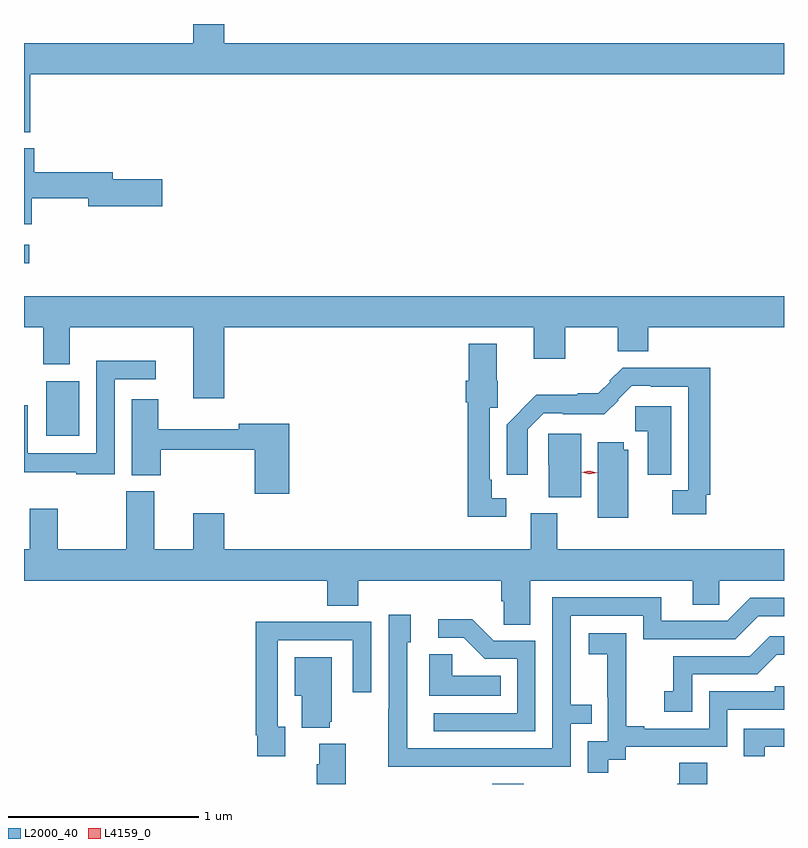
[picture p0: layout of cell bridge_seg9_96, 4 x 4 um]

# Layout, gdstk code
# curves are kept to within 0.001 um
import gdstk
lib = gdstk.Library(unit=1e-6, precision=1e-09)
def R(c, l, rs):  # rectangles x0, y0, x1, y1
    for r in rs: c.add(gdstk.rectangle(r[:2], r[2:], *l))
def P(c, l, *ps):  # polygons
    for p in ps: c.add(gdstk.Polygon(p, *l))
L2000_40 = (2000, 40)
L4159_0 = (4159, 0)

bridge_seg9_96 = lib.new_cell('bridge_seg9_96')
R(bridge_seg9_96, L2000_40, [(658.091,1204.673,658.256,1204.675), (655.742,1206.506,655.918,1206.793), (655.626,1207.415,655.654,1207.512)])
P(bridge_seg9_96, L2000_40, [(655.658,1208.408),(659.626,1208.408),(659.626,1208.572),(656.68,1208.572),(656.68,1208.673),(656.516,1208.673),(656.516,1208.572),(655.626,1208.572),(655.626,1208.104),(655.658,1208.104)],
  [(655.666,1207.756),(655.964,1207.756),(655.964,1207.714),(656.353,1207.714),(656.353,1207.856),(656.092,1207.856),(656.092,1207.892),(655.679,1207.892),(655.679,1208.019),(655.626,1208.019),(655.626,1207.62),(655.666,1207.62)],
  [(656.68,1207.076),(658.31,1207.076),(658.31,1206.912),(658.474,1206.912),(658.474,1207.076),(658.751,1207.076),(658.751,1206.95),(658.912,1206.95),(658.912,1207.076),(659.626,1207.076),(659.626,1207.24),(655.626,1207.24),(655.626,1207.076),(655.727,1207.076),(655.727,1206.882),(655.867,1206.882),(655.867,1207.076),(656.516,1207.076),(656.516,1206.702),(656.68,1206.702)],
  [(658.165,1206.177),(658.089,1206.177),(658.089,1206.274),(658.077,1206.274),(658.077,1206.653),(658.119,1206.653),(658.119,1206.795),(658.114,1206.795),(658.114,1206.991),(657.968,1206.991),(657.968,1206.795),(657.95,1206.795),(657.95,1206.681),(657.961,1206.681),(657.961,1206.08),(658.165,1206.08)],
  [(656.103,1206.804),(656.32,1206.804),(656.32,1206.901),(656.007,1206.901),(656.007,1206.415),(655.647,1206.415),(655.647,1206.667),(655.626,1206.667),(655.626,1206.314),(655.9,1206.314),(655.9,1206.304),(656.103,1206.304)],
  [(659.217,1206.196),(659.237,1206.196),(659.237,1206.865),(658.777,1206.865),(658.707,1206.795),(658.711,1206.791),(658.649,1206.729),(658.541,1206.729),(658.541,1206.721),(658.321,1206.721),(658.166,1206.564),(658.166,1206.3),(658.278,1206.3),(658.278,1206.54),(658.362,1206.624),(658.462,1206.624),(658.462,1206.62),(658.681,1206.62),(658.755,1206.693),(658.752,1206.696),(658.824,1206.768),(658.924,1206.768),(658.924,1206.764),(659.121,1206.764),(659.121,1206.22),(659.038,1206.22),(659.038,1206.092),(659.217,1206.092)],
  [(657.023,1206.568),(656.756,1206.568),(656.756,1206.541),(656.332,1206.541),(656.332,1206.697),(656.192,1206.697),(656.192,1206.298),(656.345,1206.298),(656.345,1206.432),(656.84,1206.432),(656.84,1206.201),(657.023,1206.201)],
  [(659.032,1206.662),(658.842,1206.662),(658.842,1206.53),(658.91,1206.53),(658.91,1206.301),(659.032,1206.301)],
  [(658.558,1206.516),(658.386,1206.516),(658.386,1206.354),(658.388,1206.354),(658.388,1206.182),(658.558,1206.182)],
  [(658.807,1206.432),(658.783,1206.432),(658.783,1206.472),(658.646,1206.472),(658.646,1206.074),(658.807,1206.074)],
  [(658.291,1205.744),(659.147,1205.744),(659.147,1205.617),(659.286,1205.617),(659.286,1205.744),(659.626,1205.744),(659.626,1205.908),(658.432,1205.908),(658.432,1206.097),(658.292,1206.097),(658.292,1205.908),(656.68,1205.908),(656.68,1206.097),(656.516,1206.097),(656.516,1205.908),(656.311,1205.908),(656.311,1206.213),(656.164,1206.213),(656.164,1205.908),(655.803,1205.908),(655.803,1206.121),(655.655,1206.121),(655.655,1205.908),(655.626,1205.908),(655.626,1205.744),(657.221,1205.744),(657.221,1205.611),(657.386,1205.611),(657.386,1205.744),(658.139,1205.744),(658.139,1205.635),(658.152,1205.635),(658.152,1205.512),(658.291,1205.512)],
  [(658.007,1204.764),(658.503,1204.764),(658.503,1204.989),(658.613,1204.989),(658.613,1205.09),(658.503,1205.09),(658.503,1205.559),(658.884,1205.559),(658.884,1205.436),(659.37,1205.436),(659.49,1205.556),(659.626,1205.556),(659.626,1205.652),(659.448,1205.652),(659.328,1205.532),(658.981,1205.532),(658.981,1205.655),(658.407,1205.655),(658.407,1204.86),(657.642,1204.86),(657.642,1205.418),(657.661,1205.418),(657.661,1205.563),(657.546,1205.563),(657.546,1205.069),(657.544,1205.069),(657.544,1204.763)],
  [(658.317,1205.427),(658.098,1205.427),(657.985,1205.54),(657.807,1205.54),(657.807,1205.442),(657.941,1205.442),(658.052,1205.331),(658.221,1205.331),(658.221,1205.046),(657.783,1205.046),(657.783,1204.95),(658.317,1204.95)],
  [(657.001,1204.974),(656.961,1204.974),(656.961,1205.43),(657.357,1205.43),(657.357,1205.157),(657.453,1205.157),(657.453,1205.526),(657.137,1205.526),(657.137,1205.528),(656.845,1205.528),(656.845,1204.93),(656.853,1204.93),(656.853,1204.818),(657.001,1204.818)],
  [(658.702,1204.801),(658.794,1204.801),(658.794,1204.869),(659.328,1204.869),(659.328,1205.064),(659.626,1205.064),(659.626,1205.187),(659.577,1205.187),(659.577,1205.16),(659.232,1205.16),(659.232,1204.965),(658.891,1204.965),(658.891,1204.978),(658.796,1204.978),(658.796,1205.261),(658.797,1205.261),(658.797,1205.467),(658.599,1205.467),(658.599,1205.357),(658.697,1205.357),(658.697,1205.129),(658.698,1205.129),(658.698,1204.899),(658.593,1204.899),(658.593,1204.731),(658.702,1204.731)],
  [(659.142,1205.25),(659.484,1205.25),(659.588,1205.354),(659.626,1205.354),(659.626,1205.451),(659.552,1205.451),(659.447,1205.346),(659.044,1205.346),(659.044,1205.161),(658.995,1205.161),(658.995,1205.052),(659.142,1205.052)],
  [(658.136,1205.242),(657.879,1205.242),(657.879,1205.357),(657.758,1205.357),(657.758,1205.138),(658.136,1205.138)],
  [(657.236,1205.001),(657.247,1205.001),(657.247,1205.341),(657.05,1205.341),(657.05,1205.138),(657.089,1205.138),(657.089,1204.97),(657.236,1204.97)],
  [(659.524,1204.869),(659.626,1204.869),(659.626,1204.965),(659.413,1204.965),(659.413,1204.818),(659.524,1204.818)],
  [(657.319,1204.885),(657.179,1204.885),(657.179,1204.778),(657.167,1204.778),(657.167,1204.673),(657.319,1204.673)],
  [(659.223,1204.784),(659.075,1204.784),(659.075,1204.674),(659.063,1204.674),(659.063,1204.673),(659.223,1204.673)])
P(bridge_seg9_96, L4159_0, [(658.602,1206.302),(658.561,1206.313),(658.561,1206.313),(658.561,1206.313),(658.602,1206.322),(658.643,1206.312),(658.643,1206.312),(658.643,1206.312)])

lib.write_gds('bridge_seg9_96.gds')
